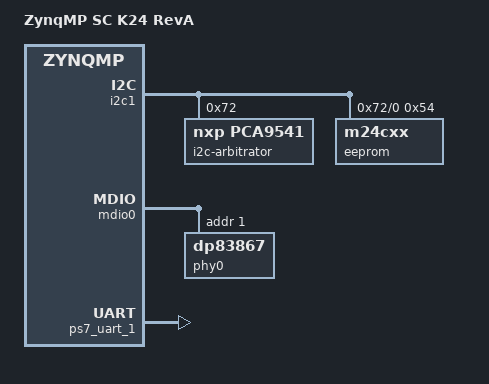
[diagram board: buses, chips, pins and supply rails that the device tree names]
/*
 * ZynqMP K24 SOM based system controller
 *
 * Copyright (C) Advanced Micro Devices, Inc.
 *
 * SPDX-License-Identifier: BSD-3-Clause
 *
 */

#include "board-zynqmp-k24-som.dts"

/ {
	model = "ZynqMP SC K24 RevA";
	compatible = "xlnx,zynqmp-sc-k24-revA", "xlnx,zynqmp-sc-k24", "xlnx,zynqmp";
};

&i2c1 {
	i2c-arbitrator@72 {
		#address-cells = <1>;
		#size-cells = <0>;
		compatible = "nxp,pca9541";
		reg = <0x72>;
		i2c@0 {
			#address-cells = <1>;
			#size-cells = <0>;
			reg = <0>;
			eeprom@54 {
				compatible = "m24cxx";
				size = <0x4000>;
				reg = <0x54>;
				blockdev-node-name = "i2c1.eeprom-54";
			};
		};
	};
};

&mdio0 {
	/delete-node/ phy@7;
	phy0: phy@1 {
		compatible = "dp83867";
		device_type = "ethernet-phy";
		reg = <1>;
	};
};

&gem1 {
	mdio = <&mdio0>;
};

&ps7_uart_1 {
	status = "okay";
};

&ddrphy_0 {
	kria-sc-ddr-phy = <1>;
};
